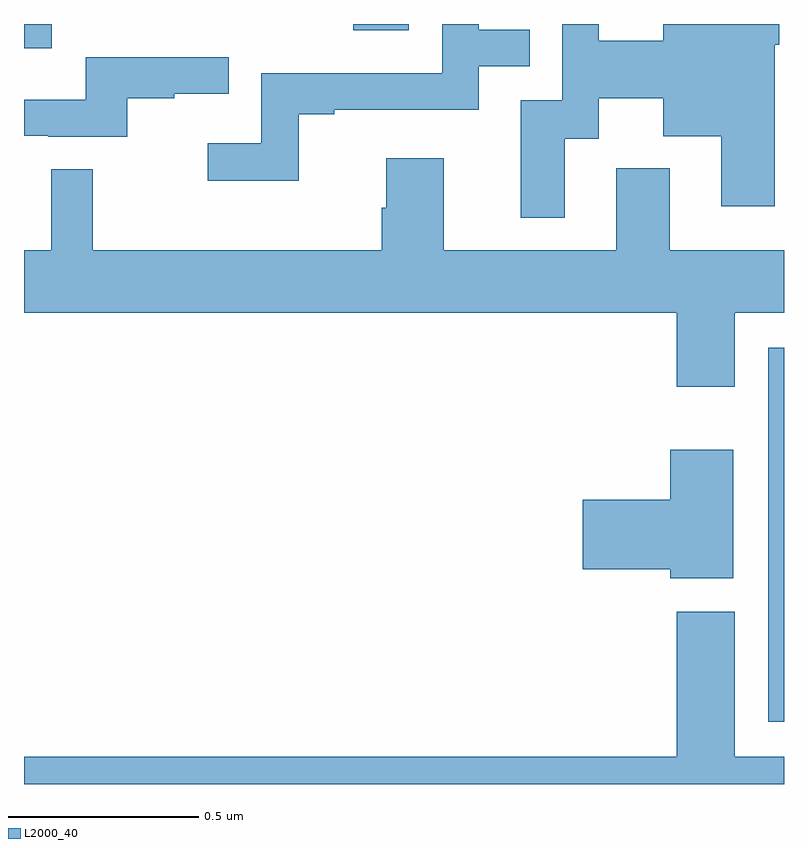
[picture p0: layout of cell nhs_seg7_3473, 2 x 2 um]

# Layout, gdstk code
import gdstk
lib = gdstk.Library(unit=1e-6, precision=1e-09)
def R(c, l, rs):  # rectangles x0, y0, x1, y1
    for r in rs: c.add(gdstk.rectangle(r[:2], r[2:], *l))
def P(c, l, *ps):  # polygons
    for p in ps: c.add(gdstk.Polygon(p, *l))
L2000_40 = (2000, 40)

nhs_seg7_3473 = lib.new_cell('nhs_seg7_3473')
R(nhs_seg7_3473, L2000_40, [(160.959,1042.164,161,1043.148), (159,1043.936,159.073,1044), (159.867,1043.984,160.012,1044)])
P(nhs_seg7_3473, L2000_40, [(159.723,1043.763),(159.817,1043.763),(159.817,1043.775),(160.197,1043.775),(160.197,1043.889),(160.331,1043.889),(160.331,1043.985),(160.197,1043.985),(160.197,1044),(160.101,1044),(160.101,1043.871),(159.624,1043.871),(159.624,1043.686),(159.483,1043.686),(159.483,1043.588),(159.723,1043.588)],
  [(160.423,1043.698),(160.513,1043.698),(160.513,1043.804),(160.682,1043.804),(160.682,1043.705),(160.835,1043.705),(160.835,1043.52),(160.975,1043.52),(160.975,1043.945),(160.988,1043.945),(160.988,1044),(160.682,1044),(160.682,1043.956),(160.512,1043.956),(160.512,1044),(160.416,1044),(160.416,1043.799),(160.307,1043.799),(160.307,1043.49),(160.423,1043.49)],
  [(159.272,1043.805),(159.395,1043.805),(159.395,1043.816),(159.539,1043.816),(159.539,1043.913),(159.162,1043.913),(159.162,1043.801),(159,1043.801),(159,1043.706),(159.064,1043.706),(159.064,1043.703),(159.272,1043.703)],
  [(160.87,1043.24),(161,1043.24),(161,1043.404),(160.699,1043.404),(160.699,1043.62),(160.559,1043.62),(160.559,1043.404),(160.105,1043.404),(160.105,1043.647),(159.953,1043.647),(159.953,1043.517),(159.941,1043.517),(159.941,1043.404),(159.181,1043.404),(159.181,1043.618),(159.072,1043.618),(159.072,1043.404),(159,1043.404),(159,1043.24),(160.718,1043.24),(160.718,1043.046),(160.87,1043.046)],
  [(160.867,1042.879),(160.7,1042.879),(160.7,1042.748),(160.47,1042.748),(160.47,1042.565),(160.7,1042.565),(160.7,1042.541),(160.867,1042.541)],
  [(161,1042.072),(160.87,1042.072),(160.87,1042.453),(160.718,1042.453),(160.718,1042.072),(159,1042.072),(159,1042),(161,1042)])

lib.write_gds('nhs_seg7_3473.gds')
